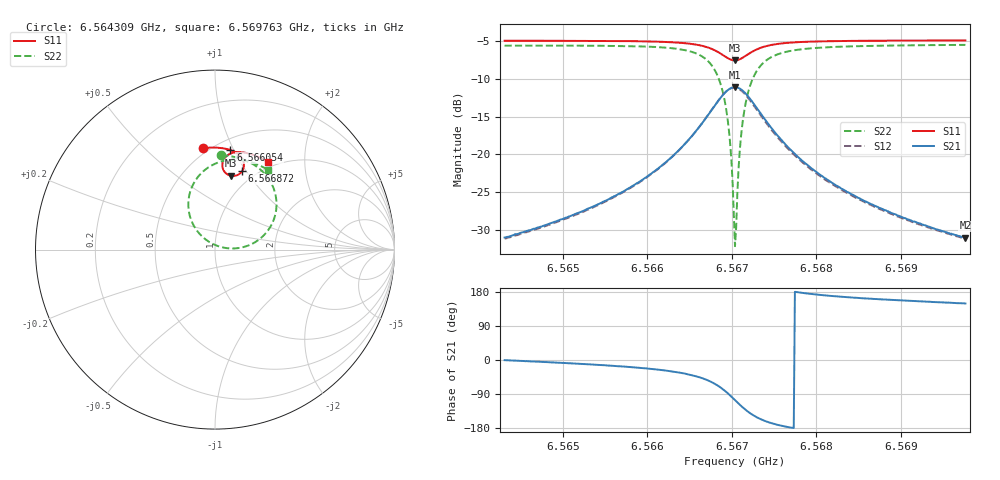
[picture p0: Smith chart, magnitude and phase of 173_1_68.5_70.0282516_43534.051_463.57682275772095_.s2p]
#  HZ  S  RI  R  50.00
! Rohde & Schwarz Vector Network Analyzer
! Rohde-Schwarz,ZNB20-2Port,1311601062101988,3.16
! Created: UTC 3/20/2024, 4:56:16 PM
! freq[Hz]  re:S11  im:S11  re:S21  im:S21  re:S12  im:S12  re:S22  im:S22
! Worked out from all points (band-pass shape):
!   401 points, 6.564309 GHz to 6.569763 GHz, reference 50 ohm
!   highest |S21| = -11.07 dB at 6.567036 GHz (marker M1); lowest = -31.1 dB at 6.569763 GHz (marker M2)
!   |S21| within 3 dB of the highest: 6.566762 GHz to 6.567308 GHz (545.7 kHz wide, 0.00831 % of centre)
!   lowest |S11| = -7.5 dB at 6.567036 GHz (marker M3), VSWR 2.45, Z = 41.1 + j41.1 ohm
!   |S11| at or under -10 dB: nowhere
!   |S22| runs from -32.2 to -5.4 dB; largest |S21 - S12| = 0.013
!   S11 on the Smith chart (normalised r, x): 6.564309 GHz: 0.46, +0.78; 6.566054 GHz: 0.60, +0.97; 6.566872 GHz: 0.86, +0.96; 6.569763 GHz: 0.91, +1.33
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6.5643087e9  -0.0662 0.5653  0.028 -0.000214  0.0275 -0.000666  0.0344 0.5262
6.5652222e9  0.00863 0.568  0.041 -0.00749  0.0403 -0.00807  0.121 0.5133
6.566054e9  0.086 0.5551  0.0688 -0.0302  0.0676 -0.0311  0.2286 0.465
6.5661358e9  0.0946 0.5521  0.0733 -0.0354  0.0722 -0.0362  0.2425 0.4549
6.5664358e9  0.1292 0.5328  0.0945 -0.0676  0.0929 -0.069  0.3014 0.3906
6.5666539e9  0.1544 0.5017  0.108 -0.122  0.1056 -0.1246  0.3406 0.2855
6.5667767e9  0.161 0.4704  0.1005 -0.1767  0.096 -0.1801  0.3323 0.1813
6.5668721e9  0.1518 0.4391  0.0674 -0.2306  0.0596 -0.2336  0.2728 0.0805
6.5669539e9  0.1263 0.4159  0.00663 -0.2679  -0.00464 -0.2679  0.1608 0.0146
6.5669812e9  0.1141 0.4116  -0.02 -0.2736  -0.0319 -0.2717  0.1126 0.00665
6.5670221e9  0.0941 0.4104  -0.0625 -0.2721  -0.0743 -0.267  0.0373 0.0133
6.5670357e9  0.0875 0.4115  -0.0766 -0.2688  -0.0881 -0.2628  0.0129 0.0208
6.5670494e9  0.0809 0.4135  -0.0902 -0.2641  -0.1014 -0.2571  -0.0105 0.0308
6.567063e9  0.0747 0.4159  -0.1032 -0.2582  -0.1138 -0.2502  -0.0327 0.0429
6.5670903e9  0.0635 0.4231  -0.1269 -0.2428  -0.136 -0.2333  -0.0718 0.0731
6.5671312e9  0.0507 0.4373  -0.1543 -0.2138  -0.1607 -0.2027  -0.1152 0.1278
6.5671857e9  0.0421 0.4588  -0.1754 -0.1709  -0.1781 -0.1596  -0.1444 0.2057
6.5672539e9  0.0422 0.484  -0.1811 -0.1218  -0.1808 -0.1121  -0.1454 0.2916
6.5674993e9  0.0795 0.5315  -0.139 -0.0278  -0.1359 -0.0234  -0.0491 0.4493
6.5679493e9  0.1424 0.5429  -0.0796 0.00831  -0.0776 0.00965  0.0865 0.4996
6.5688629e9  0.2271 0.5222  -0.0386 0.0149  -0.0377 0.0153  0.2167 0.4814
6.5697628e9  0.2935 0.4899  -0.024 0.0143  -0.0234 0.0143  0.2953 0.4448
